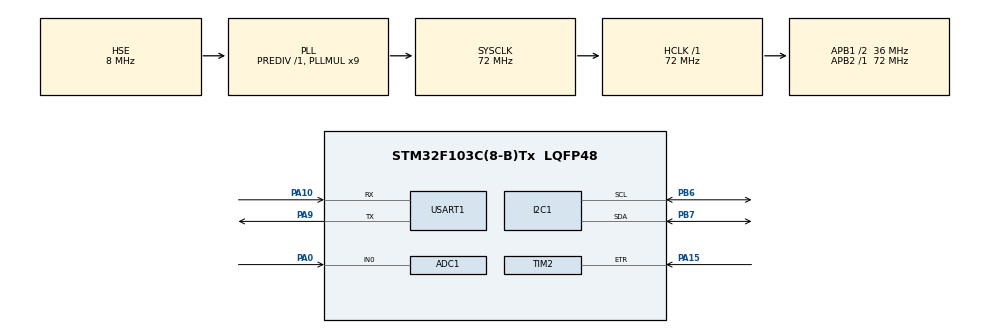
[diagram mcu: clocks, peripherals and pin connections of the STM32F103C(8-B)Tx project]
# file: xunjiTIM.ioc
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ADC1.Channel-0\#ChannelRegularConversion=ADC_CHANNEL_0
ADC1.NbrOfConversionFlag=1
ADC1.Rank-0\#ChannelRegularConversion=1
ADC1.SamplingTime-0\#ChannelRegularConversion=ADC_SAMPLETIME_1CYCLE_5
ADC1.master=1
Mcu.Family=STM32F1
Mcu.Name=STM32F103C(8-B)Tx
Mcu.Package=LQFP48
NVIC.PriorityGroup=NVIC_PRIORITYGROUP_4
PA0-WKUP.Signal=ADCx_IN0
PA10.Mode=Asynchronous
PA10.Signal=USART1_RX
PA13.Mode=Serial_Wire
PA13.Signal=SYS_JTMS-SWDIO
PA14.Mode=Serial_Wire
PA14.Signal=SYS_JTCK-SWCLK
PA15.GPIO_PuPd=GPIO_PULLUP
PA15.Signal=S_TIM2_CH1_ETR
PA9.Mode=Asynchronous
PA9.Signal=USART1_TX
PB6.Mode=I2C
PB6.Signal=I2C1_SCL
PB7.Mode=I2C
PB7.Signal=I2C1_SDA
PD0-OSC_IN.Mode=HSE-External-Oscillator
PD0-OSC_IN.Signal=RCC_OSC_IN
PD1-OSC_OUT.Mode=HSE-External-Oscillator
PD1-OSC_OUT.Signal=RCC_OSC_OUT
ProjectManager.HeapSize=0x200
ProjectManager.StackSize=0x400
ProjectManager.TargetToolchain=CMake
RCC.ADCPresc=RCC_ADCPCLK2_DIV6
RCC.AHBFreq_Value=72000000
RCC.APB1CLKDivider=RCC_HCLK_DIV2
RCC.APB1Freq_Value=36000000
RCC.APB1TimFreq_Value=72000000
RCC.APB2Freq_Value=72000000
RCC.APB2TimFreq_Value=72000000
RCC.HCLKFreq_Value=72000000
RCC.PLLMUL=RCC_PLL_MUL9
RCC.PLLSourceVirtual=RCC_PLLSOURCE_HSE
RCC.SYSCLKFreq_VALUE=72000000
RCC.SYSCLKSource=RCC_SYSCLKSOURCE_PLLCLK
RCC.USBFreq_Value=72000000
SH.ADCx_IN0.0=ADC1_IN0,IN0
SH.S_TIM2_CH1_ETR.0=TIM2_ETR,ClockSourceETR_Mode2
TIM2.ClockFilter=15
USART1.VirtualMode=VM_ASYNC
board=custom

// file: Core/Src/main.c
/* USER CODE BEGIN Header */
/**
  ******************************************************************************
  * @file           : main.c
  * @brief          : Main program body
  ******************************************************************************
  * @attention
  *
  * Copyright (c) 2026 STMicroelectronics.
  * All rights reserved.
  *
  * This software is licensed under terms that can be found in the LICENSE file
  * in the root directory of this software component.
  * If no LICENSE file comes with this software, it is provided AS-IS.
  *
  ******************************************************************************
  */
/* USER CODE END Header */
#include "main.h"
#include "adc.h"
#include "i2c.h"
#include "tim.h"
#include "usart.h"
#include "gpio.h"

/* USER CODE BEGIN Includes */
#include "oled.h"
#include "stdio.h"
/* USER CODE END Includes */

/* USER CODE BEGIN PD */
/* ================== 可调参数 ================== */
/* 一条"黑+白"条纹对应的传送距离(毫米)。
   用尺子量传送带上一个黑条 + 一个白条的总宽度，填进来。
   这个数错了，速度会整体成比例偏大或偏小，但波形/趋势依然正确。 */
#define STRIPE_MM       20U

/* 测速窗口(毫秒)：每多少毫秒算一次速度。
   太小 → 一窗口内脉冲太少，量化误差大、数字跳；太大 → 反应迟钝。 */
#define WIN_MS          500U

/* 脉冲来源：
   1 = 模拟脉冲（手里没有循迹模块时用，屏幕上是"假数据"，用来验证
       显示、单位换算、界面布局是否正常）
   0 = 真实脉冲（循迹模块 DO 接 PA15，由 TIM2 外部时钟计数）
   拿到模块后把这里改成 0 就行，其它代码一行都不用动。 */
#define SIM_PULSE       1
/* ============================================== */
/* USER CODE END PD */

/* USER CODE BEGIN PV */
static uint32_t total_pulse = 0U;    /* 累计脉冲数（一条黑+白算 1 个） */
static uint32_t speed_01mms = 0U;    /* 速度，单位 0.1 mm/s，用整数存避免浮点 */
static uint32_t distance_mm = 0U;    /* 累计传送距离，mm */
static uint32_t win_tick    = 0U;    /* 上一个测速窗口的时间戳 */
#if (SIM_PULSE == 0)
static uint16_t last_cnt    = 0U;    /* 上次读到的 TIM2->CNT */
#endif
static char line_buf[24];            /* 屏幕文本缓冲 */
/* USER CODE END PV */

void SystemClock_Config(void);

/* USER CODE BEGIN 0 */
#if (SIM_PULSE == 1)
/**
  * @brief  模拟脉冲发生器（没有循迹模块时用）
  * @note   让"每秒脉冲数"在 20~80 之间来回摆动，模拟传送带加速/减速。
  *         每 6 秒一个来回，屏幕上的数字会明显变化，方便确认刷新正常。
  */
static uint16_t sim_pulse(uint32_t now_ms, uint32_t win_ms)
{
  uint32_t t   = (now_ms / 100U) % 60U;              /* 0~59，共 6 秒 */
  uint32_t tri = (t < 30U) ? t : (60U - t);          /* 0→30→0 三角波 */
  uint32_t rate = 20U + tri * 2U;                    /* 20~80 脉冲/秒 */
  return (uint16_t)((rate * win_ms) / 1000U);
}
#endif

/**
  * @brief  一个测速窗口到了：取增量、算速度、算距离
  * @note   核心是 (uint16_t)(now - last) 无符号相减，天然跨过 65535 回绕，
  *         所以不需要开 TIM2 更新中断去数溢出次数。
  */
static void speed_task(uint32_t now_ms)
{
  uint16_t delta;
#if (SIM_PULSE == 1)
  delta = sim_pulse(now_ms, WIN_MS);
#else
  uint16_t now_cnt = (uint16_t)__HAL_TIM_GET_COUNTER(&htim2);
  delta    = (uint16_t)(now_cnt - last_cnt);
  last_cnt = now_cnt;
#endif

  total_pulse += delta;
  distance_mm  = total_pulse * STRIPE_MM;

  /* 速度(mm/s) = 脉冲数 × 每脉冲距离 × 1000 / 窗口ms
     换算成 0.1mm/s 再 ×10，用 uint64 中间量防止乘法溢出 */
  speed_01mms = (uint32_t)(((uint64_t)delta * STRIPE_MM * 10000ULL) / WIN_MS);

  if (speed_01mms > 999999U) { speed_01mms = 999999U; }   /* 显示上限 99999.9 */
}

/**
  * @brief  刷新 OLED：大字号速度 + 小字号脉冲数 / 距离
  */
static void display_update(void)
{
  OLED_NewFrame();

  /* 第 1 行：标题 */
  OLED_PrintASCIIString(0, 0, "SPEED   mm/s", &afont12x6, OLED_COLOR_NORMAL);
#if (SIM_PULSE == 1)
  OLED_PrintASCIIString(106, 2, "SIM", &afont8x6, OLED_COLOR_NORMAL);
#endif

  /* 第 2 行：速度，24×12 大字号，形如 " 123.4" */
  sprintf(line_buf, "%5lu.%01lu",
          (unsigned long)(speed_01mms / 10U),
          (unsigned long)(speed_01mms % 10U));
  OLED_PrintASCIIString(0, 14, line_buf, &afont24x12, OLED_COLOR_NORMAL);

  /* 第 3 行：累计脉冲 */
  sprintf(line_buf, "PULSE %lu", (unsigned long)total_pulse);
  OLED_PrintASCIIString(0, 41, line_buf, &afont12x6, OLED_COLOR_NORMAL);

  /* 第 4 行：累计距离 */
  sprintf(line_buf, "LEN %lu mm", (unsigned long)distance_mm);
  OLED_PrintASCIIString(0, 52, line_buf, &afont12x6, OLED_COLOR_NORMAL);

  OLED_ShowFrame();
}
/* USER CODE END 0 */

int main(void)
{

  /* MCU Configuration--------------------------------------------------------*/

  /* Reset of all peripherals, Initializes the Flash interface and the Systick. */
  HAL_Init();

  /* Configure the system clock */
  SystemClock_Config();

  /* Initialize all configured peripherals */
  MX_GPIO_Init();
  MX_ADC1_Init();
  MX_TIM2_Init();
  MX_USART1_UART_Init();
  MX_I2C1_Init();
  /* USER CODE BEGIN 2 */
  HAL_Delay(20);              /* STM32 上电比 OLED 快，等它稳定再初始化 */
  OLED_Init();

  /* 启动 TIM2：时钟源是 PA15 上的外部脉冲，不是内部 72MHz */
  HAL_TIM_Base_Start(&htim2);

  win_tick = HAL_GetTick();
  display_update();           /* 先把界面画出来，避免上电黑屏 */
  /* USER CODE END 2 */

  /* Infinite loop */
  /* USER CODE BEGIN WHILE */
  while (1)
  {
    uint32_t now = HAL_GetTick();

    /* 每 WIN_MS 毫秒结算一次：取增量 → 算速度 → 刷屏 */
    if ((uint32_t)(now - win_tick) >= WIN_MS)
    {
      win_tick = now;
      speed_task(now);
      display_update();
    }
    /* USER CODE END WHILE */

  }
}

void SystemClock_Config(void)
{
  RCC_OscInitTypeDef RCC_OscInitStruct = {0};
  RCC_ClkInitTypeDef RCC_ClkInitStruct = {0};
  RCC_PeriphCLKInitTypeDef PeriphClkInit = {0};

  /** Initializes the RCC Oscillators according to the specified parameters
  * in the RCC_OscInitTypeDef structure.
  */
  RCC_OscInitStruct.OscillatorType = RCC_OSCILLATORTYPE_HSE;
  RCC_OscInitStruct.HSEState = RCC_HSE_ON;
  RCC_OscInitStruct.HSEPredivValue = RCC_HSE_PREDIV_DIV1;
  RCC_OscInitStruct.HSIState = RCC_HSI_ON;
  RCC_OscInitStruct.PLL.PLLState = RCC_PLL_ON;
  RCC_OscInitStruct.PLL.PLLSource = RCC_PLLSOURCE_HSE;
  RCC_OscInitStruct.PLL.PLLMUL = RCC_PLL_MUL9;
  if (HAL_RCC_OscConfig(&RCC_OscInitStruct) != HAL_OK)
  {
    Error_Handler();
  }

  /** Initializes the CPU, AHB and APB buses clocks
  */
  RCC_ClkInitStruct.ClockType = RCC_CLOCKTYPE_HCLK|RCC_CLOCKTYPE_SYSCLK
                              |RCC_CLOCKTYPE_PCLK1|RCC_CLOCKTYPE_PCLK2;
  RCC_ClkInitStruct.SYSCLKSource = RCC_SYSCLKSOURCE_PLLCLK;
  RCC_ClkInitStruct.AHBCLKDivider = RCC_SYSCLK_DIV1;
  RCC_ClkInitStruct.APB1CLKDivider = RCC_HCLK_DIV2;
  RCC_ClkInitStruct.APB2CLKDivider = RCC_HCLK_DIV1;

  if (HAL_RCC_ClockConfig(&RCC_ClkInitStruct, FLASH_LATENCY_2) != HAL_OK)
  {
    Error_Handler();
  }
  PeriphClkInit.PeriphClockSelection = RCC_PERIPHCLK_ADC;
  PeriphClkInit.AdcClockSelection = RCC_ADCPCLK2_DIV6;
  if (HAL_RCCEx_PeriphCLKConfig(&PeriphClkInit) != HAL_OK)
  {
    Error_Handler();
  }
}

void Error_Handler(void)
{
  __disable_irq();
  while (1)
  {
  }
}
